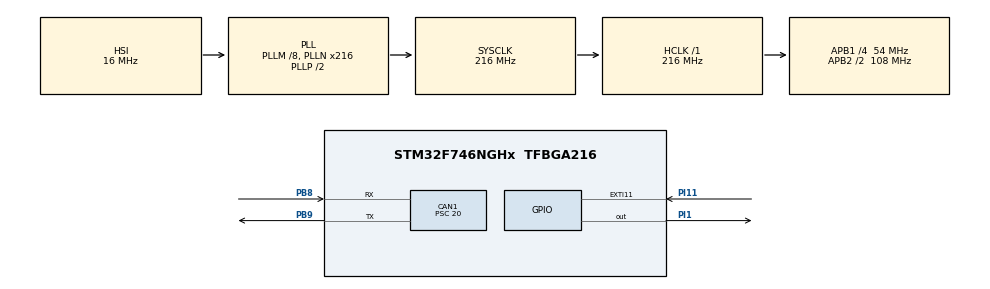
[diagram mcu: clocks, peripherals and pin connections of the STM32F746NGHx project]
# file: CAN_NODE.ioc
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CAN1.BS1=CAN_BS1_1TQ
CAN1.BS2=CAN_BS2_1TQ
CAN1.CalculateBaudRate=900000
CAN1.CalculateTimeBit=1111
CAN1.CalculateTimeQuantum=370.3703703703704
CAN1.Prescaler=20
Mcu.Family=STM32F7
Mcu.Name=STM32F746NGHx
Mcu.Package=TFBGA216
NVIC.CAN1_RX0_IRQn=true\:0\:0\:false\:false\:true\:true\:true\:true
NVIC.EXTI15_10_IRQn=true\:0\:0\:false\:false\:true\:true\:true\:true
NVIC.PriorityGroup=NVIC_PRIORITYGROUP_4
PB8.Mode=CAN_Activate
PB8.Signal=CAN1_RX
PB9.Mode=CAN_Activate
PB9.Signal=CAN1_TX
PI1.Signal=GPIO_Output
PI11.Signal=GPXTI11
ProjectManager.HeapSize=0x200
ProjectManager.StackSize=0x400
ProjectManager.TargetToolchain=STM32CubeIDE
RCC.AHBFreq_Value=216000000
RCC.APB1CLKDivider=RCC_HCLK_DIV4
RCC.APB1Freq_Value=54000000
RCC.APB1TimFreq_Value=108000000
RCC.APB2CLKDivider=RCC_HCLK_DIV2
RCC.APB2Freq_Value=108000000
RCC.APB2TimFreq_Value=216000000
RCC.CortexFreq_Value=216000000
RCC.HCLKFreq_Value=216000000
RCC.HSE_VALUE=25000000
RCC.HSI_VALUE=16000000
RCC.LSE_VALUE=32768
RCC.PLL48CLockSelection=RCC_CLK48SOURCE_PLLSAIP
RCC.PLLI2SN=100
RCC.PLLM=8
RCC.PLLN=216
RCC.PLLQ=9
RCC.PLLSAIN=384
RCC.PLLSAIP=RCC_PLLSAIP_DIV8
RCC.PLLSAIR=5
RCC.PLLSAIRDiv=RCC_PLLSAIDIVR_8
RCC.SDMMCClockSelection=RCC_SDMMC1CLKSOURCE_CLK48
RCC.SYSCLKFreq_VALUE=216000000
RCC.SYSCLKSource=RCC_SYSCLKSOURCE_PLLCLK
RCC.USBFreq_Value=96000000
RCC.VCOOutputFreq_Value=432000000
board=STM32F746G-DISCO

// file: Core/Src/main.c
/* USER CODE BEGIN Header */
/**
  ******************************************************************************
  * @file           : main.c
  * @brief          : Main program body
  ******************************************************************************
  * @attention
  *
  * Copyright (c) 2024 STMicroelectronics.
  * All rights reserved.
  *
  * This software is licensed under terms that can be found in the LICENSE file
  * in the root directory of this software component.
  * If no LICENSE file comes with this software, it is provided AS-IS.
  *
  ******************************************************************************
  */
/* USER CODE END Header */
#include "main.h"

CAN_HandleTypeDef hcan1;

/* USER CODE BEGIN PV */
CAN_TxHeaderTypeDef   TxHeader;
uint8_t               TxData[8];
uint32_t              TxMailbox;
CAN_RxHeaderTypeDef   RxHeader;
uint8_t               RxData[8];
/* USER CODE END PV */

void SystemClock_Config(void);
static void MX_GPIO_Init(void);
static void MX_CAN1_Init(void);

int main(void)
{

  /* MCU Configuration--------------------------------------------------------*/

  /* Reset of all peripherals, Initializes the Flash interface and the Systick. */
  HAL_Init();

  /* Configure the system clock */
  SystemClock_Config();

  /* Initialize all configured peripherals */
  MX_GPIO_Init();
  MX_CAN1_Init();
  /* USER CODE BEGIN 2 */
  if(HAL_CAN_Start(&hcan1)!=HAL_OK){
  	  Error_Handler();
  }
  if (HAL_CAN_ActivateNotification(&hcan1, CAN_IT_RX_FIFO0_MSG_PENDING) != HAL_OK)
  {
  	  Error_Handler();
  }
  TxHeader.IDE = CAN_ID_STD;
  TxHeader.StdId = 0x446;
  TxHeader.RTR = CAN_RTR_DATA;
  TxHeader.DLC = 2;

  TxData[0] = 50;
  TxData[1] = 0xAA;
  /* USER CODE END 2 */

  /* Infinite loop */
  while (1)
  {

  }
}

void SystemClock_Config(void)
{
  RCC_OscInitTypeDef RCC_OscInitStruct = {0};
  RCC_ClkInitTypeDef RCC_ClkInitStruct = {0};

  /** Configure the main internal regulator output voltage
  */
  __HAL_RCC_PWR_CLK_ENABLE();
  __HAL_PWR_VOLTAGESCALING_CONFIG(PWR_REGULATOR_VOLTAGE_SCALE1);

  /** Initializes the RCC Oscillators according to the specified parameters
  * in the RCC_OscInitTypeDef structure.
  */
  RCC_OscInitStruct.OscillatorType = RCC_OSCILLATORTYPE_HSI;
  RCC_OscInitStruct.HSIState = RCC_HSI_ON;
  RCC_OscInitStruct.HSICalibrationValue = RCC_HSICALIBRATION_DEFAULT;
  RCC_OscInitStruct.PLL.PLLState = RCC_PLL_ON;
  RCC_OscInitStruct.PLL.PLLSource = RCC_PLLSOURCE_HSI;
  RCC_OscInitStruct.PLL.PLLM = 8;
  RCC_OscInitStruct.PLL.PLLN = 216;
  RCC_OscInitStruct.PLL.PLLP = RCC_PLLP_DIV2;
  RCC_OscInitStruct.PLL.PLLQ = 9;
  if (HAL_RCC_OscConfig(&RCC_OscInitStruct) != HAL_OK)
  {
    Error_Handler();
  }

  /** Activate the Over-Drive mode
  */
  if (HAL_PWREx_EnableOverDrive() != HAL_OK)
  {
    Error_Handler();
  }

  /** Initializes the CPU, AHB and APB buses clocks
  */
  RCC_ClkInitStruct.ClockType = RCC_CLOCKTYPE_HCLK|RCC_CLOCKTYPE_SYSCLK
                              |RCC_CLOCKTYPE_PCLK1|RCC_CLOCKTYPE_PCLK2;
  RCC_ClkInitStruct.SYSCLKSource = RCC_SYSCLKSOURCE_PLLCLK;
  RCC_ClkInitStruct.AHBCLKDivider = RCC_SYSCLK_DIV1;
  RCC_ClkInitStruct.APB1CLKDivider = RCC_HCLK_DIV4;
  RCC_ClkInitStruct.APB2CLKDivider = RCC_HCLK_DIV2;

  if (HAL_RCC_ClockConfig(&RCC_ClkInitStruct, FLASH_LATENCY_7) != HAL_OK)
  {
    Error_Handler();
  }
}

static void MX_CAN1_Init(void)
{

  hcan1.Instance = CAN1;
  hcan1.Init.Prescaler = 20;
  hcan1.Init.Mode = CAN_MODE_NORMAL;
  hcan1.Init.SyncJumpWidth = CAN_SJW_1TQ;
  hcan1.Init.TimeSeg1 = CAN_BS1_1TQ;
  hcan1.Init.TimeSeg2 = CAN_BS2_1TQ;
  hcan1.Init.TimeTriggeredMode = DISABLE;
  hcan1.Init.AutoBusOff = DISABLE;
  hcan1.Init.AutoWakeUp = DISABLE;
  hcan1.Init.AutoRetransmission = DISABLE;
  hcan1.Init.ReceiveFifoLocked = DISABLE;
  hcan1.Init.TransmitFifoPriority = DISABLE;
  if (HAL_CAN_Init(&hcan1) != HAL_OK)
  {
    Error_Handler();
  }
  /* USER CODE BEGIN CAN1_Init 2 */
  CAN_FilterTypeDef canfilterconfig;

  canfilterconfig.FilterActivation = CAN_FILTER_ENABLE;
  canfilterconfig.FilterBank = 18;  // which filter bank to use from the assigned ones
  canfilterconfig.FilterFIFOAssignment = CAN_FILTER_FIFO0;
  canfilterconfig.FilterIdHigh = 0x446<<5;
  canfilterconfig.FilterIdLow = 0;
  canfilterconfig.FilterMaskIdHigh = 0x446<<5;
  canfilterconfig.FilterMaskIdLow = 0x0000;
  canfilterconfig.FilterMode = CAN_FILTERMODE_IDMASK;
  canfilterconfig.FilterScale = CAN_FILTERSCALE_32BIT;
  canfilterconfig.SlaveStartFilterBank = 20;  // how many filters to assign to the CAN1 (master can)

  HAL_CAN_ConfigFilter(&hcan1, &canfilterconfig);
  /* USER CODE END CAN1_Init 2 */

}

static void MX_GPIO_Init(void)
{
  GPIO_InitTypeDef GPIO_InitStruct = {0};

  /* GPIO Ports Clock Enable */
  __HAL_RCC_GPIOB_CLK_ENABLE();
  __HAL_RCC_GPIOI_CLK_ENABLE();

  /*Configure GPIO pin Output Level */
  HAL_GPIO_WritePin(GPIOI, GPIO_PIN_1, GPIO_PIN_RESET);

  /*Configure GPIO pin : PI1 */
  GPIO_InitStruct.Pin = GPIO_PIN_1;
  GPIO_InitStruct.Mode = GPIO_MODE_OUTPUT_PP;
  GPIO_InitStruct.Pull = GPIO_NOPULL;
  GPIO_InitStruct.Speed = GPIO_SPEED_FREQ_LOW;
  HAL_GPIO_Init(GPIOI, &GPIO_InitStruct);

  /*Configure GPIO pin : PI11 */
  GPIO_InitStruct.Pin = GPIO_PIN_11;
  GPIO_InitStruct.Mode = GPIO_MODE_IT_RISING;
  GPIO_InitStruct.Pull = GPIO_NOPULL;
  HAL_GPIO_Init(GPIOI, &GPIO_InitStruct);

  /* EXTI interrupt init*/
  HAL_NVIC_SetPriority(EXTI15_10_IRQn, 0, 0);
  HAL_NVIC_EnableIRQ(EXTI15_10_IRQn);

}

/* USER CODE BEGIN 4 */
void HAL_GPIO_EXTI_Callback(uint16_t GPIO_Pin) {
	if(GPIO_Pin == GPIO_PIN_11){
		if(HAL_CAN_AddTxMessage(&hcan1,&TxHeader,TxData,&TxMailbox)!=HAL_OK){
			Error_Handler();
		}
		else{
			HAL_GPIO_WritePin(GPIOI, GPIO_PIN_1, GPIO_PIN_SET);
			Delay(2000);
			HAL_GPIO_WritePin(GPIOI, GPIO_PIN_1, GPIO_PIN_RESET);
		}
	}
}

void Delay(volatile int number)
{
	int j;
	for(j = 0; j<number*4000; j++);
}

void HAL_CAN_RxFifo0MsgPendingCallback(CAN_HandleTypeDef *hcan)
{
	if (HAL_CAN_GetRxMessage(hcan, CAN_RX_FIFO0, &RxHeader, RxData) != HAL_OK)
	{
		Error_Handler();
	}
	else{
		HAL_GPIO_WritePin(GPIOI, GPIO_PIN_1, GPIO_PIN_SET);
		Delay(1000);
		HAL_GPIO_WritePin(GPIOI, GPIO_PIN_1, GPIO_PIN_RESET);
	}
}
/* USER CODE END 4 */

void Error_Handler(void)
{
  __disable_irq();
  while (1)
  {
  }
}
